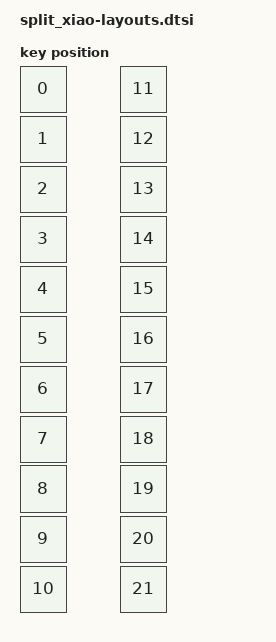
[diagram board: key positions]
#include <physical_layouts.dtsi>

/ {
	
	physical_layout0: physical_layout_0 {
		compatible = "zmk,physical-layout";
		display-name = "SPLIT XIAO";
		
		kscan = <&kscan0>;
		transform = <&default_transform>;
		
		keys//                     w   h    x    y    rot   rx   ry
		// left
		= <&key_physical_attrs 100 100    0    0      0    0    0>
		, <&key_physical_attrs 100 100    0  100      0    0    0>
		, <&key_physical_attrs 100 100    0  200      0    0    0>
		, <&key_physical_attrs 100 100    0  300      0    0    0>
		, <&key_physical_attrs 100 100    0  400      0    0    0>
		, <&key_physical_attrs 100 100    0  500      0    0    0>
		, <&key_physical_attrs 100 100    0  600      0    0    0>
		, <&key_physical_attrs 100 100  0  700      0    0    0>
		, <&key_physical_attrs 100 100  0  800      0    0    0>
		, <&key_physical_attrs 100 100  0  900      0    0    0>
		, <&key_physical_attrs 100 100  0  1000      0    0    0>
		// right
		, <&key_physical_attrs 100 100    200    0      0    0    0>
		, <&key_physical_attrs 100 100    200  100      0    0    0>
		, <&key_physical_attrs 100 100    200  200      0    0    0>
		, <&key_physical_attrs 100 100    200  300      0    0    0>
		, <&key_physical_attrs 100 100    200  400      0    0    0>
		, <&key_physical_attrs 100 100    200  500      0    0    0>
		, <&key_physical_attrs 100 100    200  600      0    0    0>
		, <&key_physical_attrs 100 100    200  700      0    0    0>
		, <&key_physical_attrs 100 100    200  800      0    0    0>
		, <&key_physical_attrs 100 100    200  900      0    0    0>
		, <&key_physical_attrs 100 100    200  1000      0    0    0>
		;
	};
};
